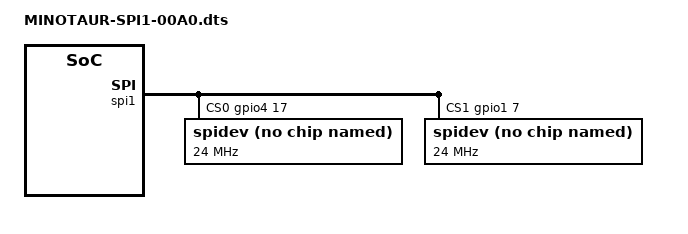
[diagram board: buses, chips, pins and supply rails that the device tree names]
/dts-v1/;
/plugin/;

/* SPI1 */
/* D1 Output and D0 Input and 2 chip selects */

/ {
    compatible = "ti,beaglebone", "ti,beaglebone-black";

    /* identification */
    part-number = "MINOTAUR-SPI1";

    /* version */
    version = "00A0";

    fragment@0 {
        target = <&am33xx_pinmux>;
        __overlay__ {
            spi1_pins_s0: spi1_pins_s0 {
                        pinctrl-single,pins = <
                                0x190 0x33      /* mcasp0_aclkx.spi1_sclk, INPUT_PULLUP | MODE3 */
                                0x194 0x33      /* mcasp0_fsx.spi1_d0, INPUT_PULLUP | MODE3 */
                                0x198 0x13      /* mcasp0_axr0.spi1_d1, OUTPUT_PULLUP | MODE3 */
                                0x19c 0x13      /* mcasp0_ahclkr.spi1_cs0, OUTPUT_PULLUP | MODE3 */
				0x164 0x12      /* P9_42 = GPIO0_7 =  eCAP0_in_PWM0_out.gpio0[7], OUTPUT_PULLUP | MODE2 */
                >;
            };
        };
    };

    fragment@1 {
        target = <&spi1>;
        __overlay__ {

             #address-cells = <1>;
             #size-cells = <0>;
             status = "okay";
             pinctrl-names = "default";
             pinctrl-0 = <&spi1_pins_s0>;
             cs-gpios = <&gpio4 17 0>, <&gpio1 7 0>;

             spidev@0 {
                 spi-max-frequency = <24000000>;
                 reg = <0>;
                 compatible = "spidev";
             };

             spidev@1 {
                 spi-max-frequency = <24000000>;
                 reg = <1>;
                 compatible = "spidev";
             };
        };
    };
};
